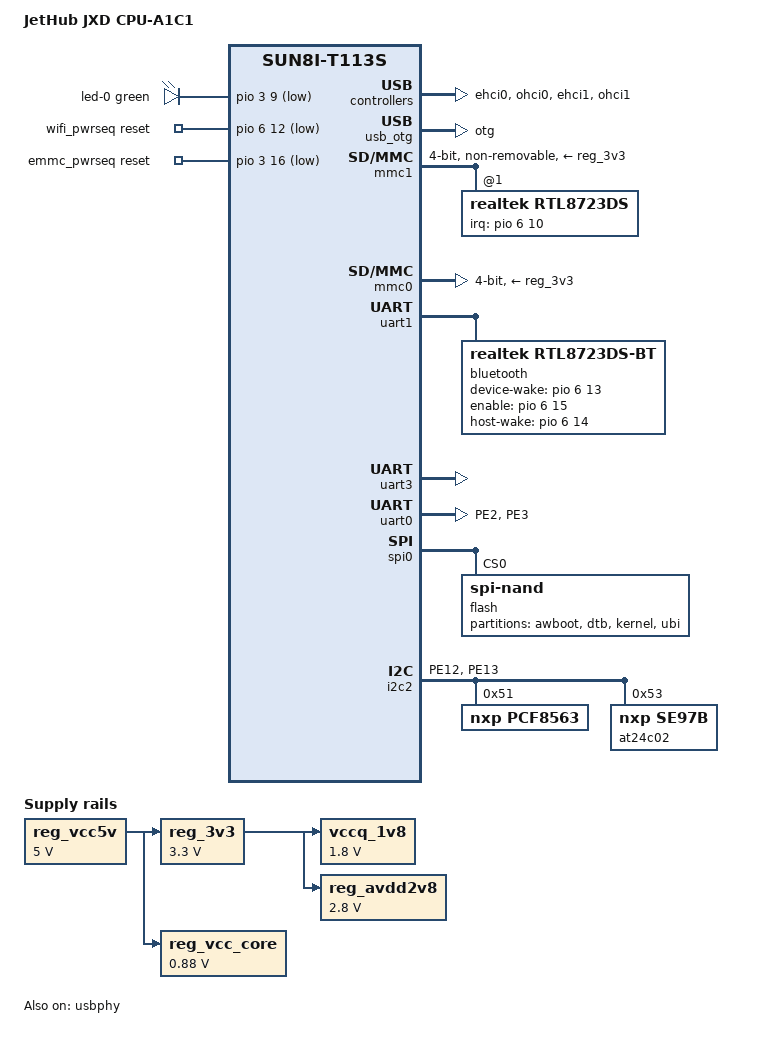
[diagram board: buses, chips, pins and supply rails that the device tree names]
// SPDX-License-Identifier: (GPL-2.0+ or MIT)
/*
 * Copyright (C) 2023 JetHome
 * Author: Viacheslav Bocharov <adeep@lexina.in>
 */

#include <dt-bindings/interrupt-controller/irq.h>
#include <dt-bindings/gpio/gpio.h>
#include <dt-bindings/leds/common.h>

/dts-v1/;

#include "sun8i-t113s.dtsi"
//#include "sunxi-d1s-t113-mangopi-mq-r.dtsi"

/ {
	model = "JetHub JXD CPU-A1C1";
	compatible = "jethome,jxd-cpu-a1c1", "allwinner,sun8i-t113s";

	cpus {
		/*enable-method = "allwinner,sun8iw20p1";*/
		#address-cells = <1>;
		#size-cells = <0>;

		cpu0: cpu@0 {
			compatible = "arm,cortex-a7";
			device_type = "cpu";
			reg = <0>;
			clocks = <&ccu CLK_CPUX>;
			clock-names = "cpu";
		};

		cpu1: cpu@1 {
			compatible = "arm,cortex-a7";
			device_type = "cpu";
			reg = <1>;
			clocks = <&ccu CLK_CPUX>;
			clock-names = "cpu";
		};
	};

	aliases {
		serial3 = &uart3;
		/*serial3 = "/soc/serial@2500c00";*/

		ethernet0 = &rtl8723ds;
	};

	chosen {
		stdout-path = "serial3:115200n8";
		bootargs = "mem=128M cma=48M console=ttyS3,115200 earlyprintk=sunxi-uart,0x2500c00 root=/dev/mmcblk0p1 rootwait";/* root=/dev/mtdblock3"; rootfstype=squashfs rootwait  rootfstype=squashfs";*/
	};

	leds {
		compatible = "gpio-leds";

		led-0 {
			color = <LED_COLOR_ID_GREEN>;
			function = LED_FUNCTION_STATUS;
			gpios = <&pio 3 9 GPIO_ACTIVE_LOW>; /* PD9 */
		};
	};


/* !!!!!!!!!!!! @TODO check power supply from schematic !!!!!!!!!!!!!!! */
	/* board wide 5V supply directly from the USB-C socket */
	reg_vcc5v: regulator-5v {
		compatible = "regulator-fixed";
		regulator-name = "vcc-5v";
		regulator-min-microvolt = <5000000>;
		regulator-max-microvolt = <5000000>;
		regulator-always-on;
	};

	/* SY8008 DC/DC regulator on the board */
	reg_3v3: regulator-3v3 {
		compatible = "regulator-fixed";
		regulator-name = "vcc-3v3";
		regulator-min-microvolt = <3300000>;
		regulator-max-microvolt = <3300000>;
		vin-supply = <&reg_vcc5v>;
	};

	vccq_1v8: regulator-vccq_1v8 {
		compatible = "regulator-fixed";
		regulator-name = "VCCQ_1V8";
		regulator-min-microvolt = <1800000>;
		regulator-max-microvolt = <1800000>;
		vin-supply = <&reg_3v3>;
		regulator-always-on;
	};


	/* SY8008 DC/DC regulator on the board, also supplying VDD-SYS */
	reg_vcc_core: regulator-core {
		compatible = "regulator-fixed";
		regulator-name = "vcc-core";
		regulator-min-microvolt = <880000>;
		regulator-max-microvolt = <880000>;
		vin-supply = <&reg_vcc5v>;
	};

	/* XC6206 LDO on the board */
	reg_avdd2v8: regulator-avdd {
		compatible = "regulator-fixed";
		regulator-name = "avdd2v8";
		regulator-min-microvolt = <2800000>;
		regulator-max-microvolt = <2800000>;
		vin-supply = <&reg_3v3>;
	};

	wifi_pwrseq: wifi-pwrseq {
		compatible = "mmc-pwrseq-simple";
		reset-gpios = <&pio 6 12 GPIO_ACTIVE_LOW>; /* PG12 */
	};

	emmc_pwrseq: emmc-pwrseq {
		compatible = "mmc-pwrseq-simple";
		reset-gpios = <&pio 3 16 GPIO_ACTIVE_LOW>; /* PD16 */
	};


};

&cpu0 {
	cpu-supply = <&reg_vcc_core>;
	clock-frequency = <1200000000>;
	#cooling-cells = <2>;
};

&cpu1 {
	cpu-supply = <&reg_vcc_core>;
	clock-frequency = <1200000000>;
	#cooling-cells = <2>;
};

&dcxo {
	clock-frequency = <24000000>;
};

&ehci0 {
	status = "okay";
};

&ohci0 {
	status = "okay";
};

&ehci1 {
	status = "okay";
};

&ohci1 {
	status = "okay";
};

/* The USB-C socket has its CC pins pulled to GND, so is hardwired as a UFP. */
&usb_otg {
	dr_mode = "otg"; /* was peripheral from mango*/
	status = "okay";
};

/* The USB-C socket has its CC pins pulled to GND, so is hardwired as a UFP. */
&usbphy {
	usb1_vbus-supply = <&reg_vcc5v>;
	status = "okay";
};

/* WiFi module */
&mmc1 { /* 4021000 */
	pinctrl-0 = <&mmc1_pins>;
	pinctrl-names = "default";
	vmmc-supply = <&reg_3v3>;
	non-removable;
	bus-width = <4>;
	mmc-pwrseq = <&wifi_pwrseq>;
	status = "okay";

	rtl8723ds: wifi@1 {
		compatible = "realtek,rtl8723ds";
		reg = <1>;
		interrupt-parent = <&pio>;
		interrupts = <6 10 IRQ_TYPE_LEVEL_LOW>; /* PG10 = WL_WAKE_AP */
		interrupt-names = "host-wake";
	};
};


/* eMMC module */
&mmc0 { /* 4020000 */
	compatible = "allwinner,sun20i-d1-emmc",
		     "allwinner,sun50i-a100-emmc";
	pinctrl-0 = <&mmc0_pins>;
	pinctrl-names = "default";
	vmmc-supply = <&reg_3v3>;
	vqmmc-supply = <&vccq_1v8>;
	mmc-pwrseq = <&emmc_pwrseq>;
	/* for sd-card: cd-gpios = <&pio 5 6 GPIO_ACTIVE_LOW>;*/
	disable-wp;
	bus-width = <4>;
	cap-mmc-highspeed;
	max-frequency = <150000000>;
	mmc-ddr-1_8v;
	mmc-ddr-3_3v;
	mmc-hs200-1_8v; /* new */
	no-sd;
	/*no-sdio;*/
	/delete-property/ no-mmc;
	/delete-property/ cap-sd-highspeed;
	status = "okay";
};


&pio {
	vcc-pb-supply = <&reg_3v3>;
	vcc-pd-supply = <&reg_3v3>;
	vcc-pe-supply = <&reg_avdd2v8>;
	vcc-pf-supply = <&reg_3v3>;
	vcc-pg-supply = <&reg_3v3>;
	/omit-if-no-ref/
	uart0_pe_pins: uart0-pe-pins {
		pins = "PE2", "PE3";
		function = "uart0";
	};
	/omit-if-no-ref/
	i2c2_pe0_pins: i2c2-pe0-pins {
		pins = "PE12", "PE13";
		function = "i2c2";
	};


};

&uart1 {
	uart-has-rtscts;
	pinctrl-0 = <&uart1_pg6_pins>, <&uart1_pg8_rts_cts_pins>;
	pinctrl-names = "default";
	status = "okay";

	bluetooth {
		compatible = "realtek,rtl8723ds-bt";
		device-wake-gpios = <&pio 6 13 GPIO_ACTIVE_HIGH>; /* PG13 */
		enable-gpios = <&pio 6 15 GPIO_ACTIVE_HIGH>; /* PG15 */
		host-wake-gpios = <&pio 6 14 GPIO_ACTIVE_HIGH>; /* PG14 */
	};
};


&uart3 {
	pinctrl-names = "default";
	pinctrl-0 = <&uart3_pb_pins>;
	status = "okay";
};

&uart0 {
	pinctrl-names = "default";
	pinctrl-0 = <&uart0_pe_pins>;
	status = "okay";
};

&spi0 {
	pinctrl-names = "default";
	pinctrl-0 = <&spi0_pins>;
	status = "okay";

        flash@0 {
                compatible = "spi-nand";
                reg = <0>;

                partitions {
                        compatible = "fixed-partitions";
                        #address-cells = <1>;
                        #size-cells = <1>;

                        partition@0 {
                                label = "awboot";
                                reg = <0x0 0x20000>;
				read-only;
                        };

                        partition@40000 {
                                label = "dtb";
                                reg = <0x40000 0x40000>;
                        };

                        partition@80000 {
                                label = "kernel";
                                reg = <0x80000 0x800000>;
                        };

                        partition@880000 {
				label = "ubi";
                                reg = <0x880000 0x75c0000>;
                        };
                };
        };

};


&i2c2 {
	pinctrl-0 = <&i2c2_pe0_pins>;
	pinctrl-names = "default";
	status = "okay";

	/* RTC */
	pcf8563: rtc@51 {
		compatible = "nxp,pcf8563";
		reg = <0x51>;
		status = "okay";
	};

       at24c02: eeprom@53 {
                compatible = "nxp,se97b", "atmel,24c02";
                /* read-only;*/
                reg = <0x53>;
                pagesize = <16>;
                /* vcc-supply = <&reg_vcc3v3>;*/
        };

};
